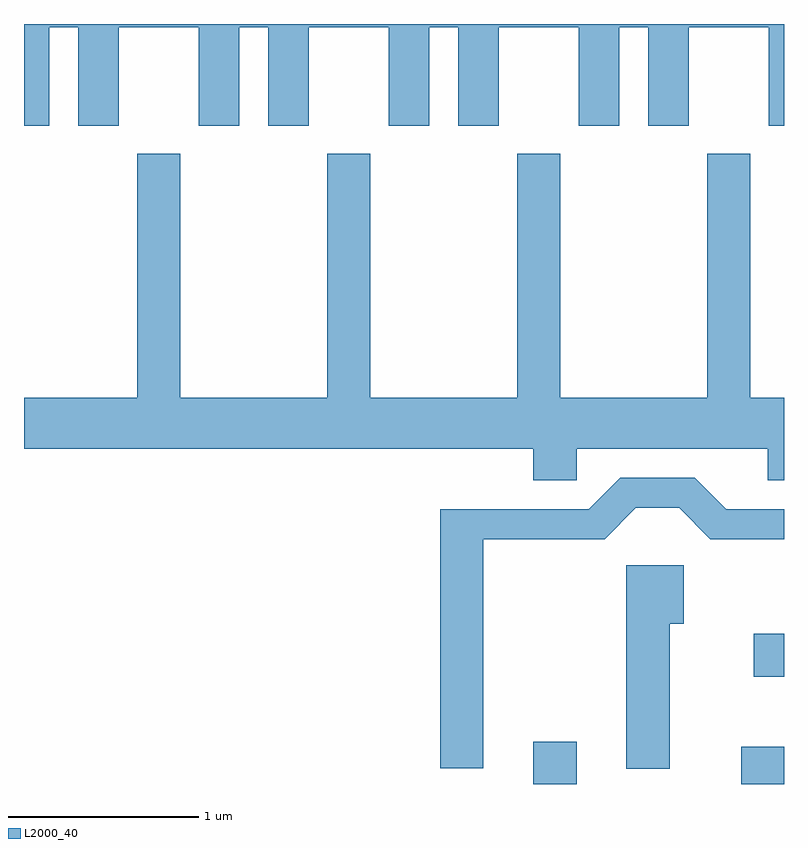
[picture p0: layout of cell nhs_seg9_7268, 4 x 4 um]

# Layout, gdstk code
import gdstk
lib = gdstk.Library(unit=1e-6, precision=1e-09)
def R(c, l, rs):  # rectangles x0, y0, x1, y1
    for r in rs: c.add(gdstk.rectangle(r[:2], r[2:], *l))
def P(c, l, *ps):  # polygons
    for p in ps: c.add(gdstk.Polygon(p, *l))
L2000_40 = (2000, 40)

nhs_seg9_7268 = lib.new_cell('nhs_seg9_7268')
R(nhs_seg9_7268, L2000_40, [(402.291,2054.432,402.519,2054.654), (403.386,2054.432,403.611,2054.629), (403.451,2054.996,403.611,2055.224)])
P(nhs_seg9_7268, L2000_40, [(399.611,2057.896),(399.744,2057.896),(399.744,2058.416),(399.896,2058.416),(399.896,2057.896),(400.109,2057.896),(400.109,2058.416),(400.531,2058.416),(400.531,2057.896),(400.744,2057.896),(400.744,2058.416),(400.896,2058.416),(400.896,2057.896),(401.109,2057.896),(401.109,2058.416),(401.531,2058.416),(401.531,2057.896),(401.744,2057.896),(401.744,2058.416),(401.896,2058.416),(401.896,2057.896),(402.109,2057.896),(402.109,2058.416),(402.531,2058.416),(402.531,2057.896),(402.744,2057.896),(402.744,2058.416),(402.896,2058.416),(402.896,2057.896),(403.109,2057.896),(403.109,2058.416),(403.531,2058.416),(403.531,2057.896),(403.611,2057.896),(403.611,2058.432),(399.611,2058.432)],
  [(402.519,2056.196),(403.526,2056.196),(403.526,2056.031),(403.611,2056.031),(403.611,2056.464),(403.434,2056.464),(403.434,2057.749),(403.206,2057.749),(403.206,2056.464),(402.434,2056.464),(402.434,2057.749),(402.206,2057.749),(402.206,2056.464),(401.434,2056.464),(401.434,2057.749),(401.206,2057.749),(401.206,2056.464),(400.434,2056.464),(400.434,2057.749),(400.206,2057.749),(400.206,2056.464),(399.611,2056.464),(399.611,2056.196),(402.291,2056.196),(402.291,2056.031),(402.519,2056.031)],
  [(402.029,2055.721),(402.667,2055.721),(402.832,2055.886),(403.059,2055.886),(403.224,2055.721),(403.611,2055.721),(403.611,2055.879),(403.307,2055.879),(403.142,2056.044),(402.749,2056.044),(402.584,2055.879),(401.801,2055.879),(401.801,2054.516),(402.029,2054.516)],
  [(403.009,2055.276),(403.084,2055.276),(403.084,2055.584),(402.781,2055.584),(402.781,2054.511),(403.009,2054.511)])

lib.write_gds('nhs_seg9_7268.gds')
